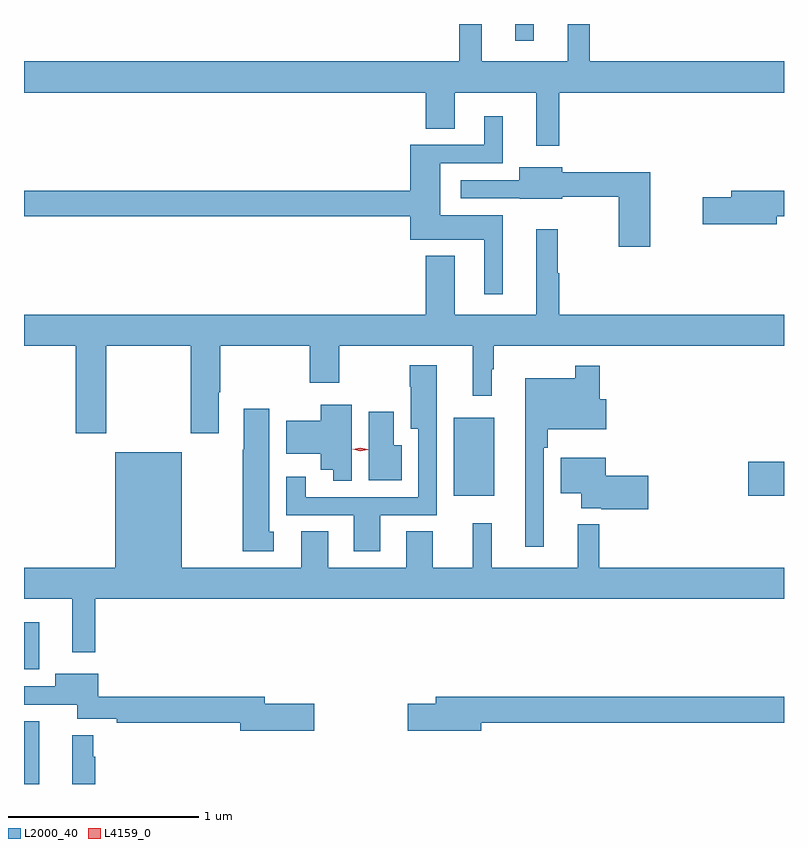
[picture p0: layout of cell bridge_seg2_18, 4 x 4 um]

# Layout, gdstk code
import gdstk
lib = gdstk.Library(unit=1e-6, precision=1e-09)
def R(c, l, rs):  # rectangles x0, y0, x1, y1
    for r in rs: c.add(gdstk.rectangle(r[:2], r[2:], *l))
def P(c, l, *ps):  # polygons
    for p in ps: c.add(gdstk.Polygon(p, *l))
L2000_40 = (2000, 40)
L4159_0 = (4159, 0)

bridge_seg2_18 = lib.new_cell('bridge_seg2_18')
R(bridge_seg2_18, L2000_40, [(757.389,637.337,757.468,637.666), (757.389,637.941,757.468,638.188), (761.202,638.854,761.389,639.032), (759.65,638.855,759.865,639.265), (759.975,641.25,760.072,641.337)])
P(bridge_seg2_18, L2000_40, [(760.207,640.976),(761.389,640.976),(761.389,641.14),(760.367,641.14),(760.367,641.337),(760.25,641.337),(760.25,641.14),(759.797,641.14),(759.797,641.337),(759.679,641.337),(759.679,641.14),(757.389,641.14),(757.389,640.976),(759.503,640.976),(759.503,640.786),(759.655,640.786),(759.655,640.976),(760.085,640.976),(760.085,640.695),(760.207,640.695)],
  [(759.91,640.33),(759.58,640.33),(759.58,640.605),(759.91,640.605),(759.91,640.852),(759.812,640.852),(759.812,640.701),(759.422,640.701),(759.422,640.46),(757.389,640.46),(757.389,640.324),(759.422,640.324),(759.422,640.202),(759.812,640.202),(759.812,639.915),(759.91,639.915)],
  [(760.684,640.558),(760.222,640.558),(760.222,640.582),(759.995,640.582),(759.995,640.515),(759.687,640.515),(759.687,640.419),(759.999,640.419),(759.999,640.418),(760.222,640.418),(760.222,640.429),(760.519,640.429),(760.519,640.164),(760.684,640.164)],
  [(761.35,640.324),(761.389,640.324),(761.389,640.46),(761.111,640.46),(761.111,640.424),(760.962,640.424),(760.962,640.282),(761.35,640.282)],
  [(757.821,639.644),(758.266,639.644),(758.266,639.183),(758.413,639.183),(758.413,639.4),(758.421,639.4),(758.421,639.644),(758.893,639.644),(758.893,639.45),(759.048,639.45),(759.048,639.644),(759.752,639.644),(759.752,639.381),(759.85,639.381),(759.85,639.521),(759.862,639.521),(759.862,639.644),(761.389,639.644),(761.389,639.808),(760.207,639.808),(760.207,640.025),(760.199,640.025),(760.199,640.258),(760.085,640.258),(760.085,639.808),(759.655,639.808),(759.655,640.117),(759.503,640.117),(759.503,639.808),(757.389,639.808),(757.389,639.644),(757.661,639.644),(757.661,639.183),(757.821,639.183)],
  [(759.265,638.751),(759.561,638.751),(759.561,639.31),(759.562,639.31),(759.562,639.541),(759.418,639.541),(759.418,639.428),(759.425,639.428),(759.425,639.206),(759.465,639.206),(759.465,638.847),(758.872,638.847),(758.872,638.953),(758.768,638.953),(758.768,638.751),(759.125,638.751),(759.125,638.562),(759.265,638.562)],
  [(760.125,639.107),(760.145,639.107),(760.145,639.203),(760.453,639.203),(760.453,639.361),(760.418,639.361),(760.418,639.538),(760.29,639.538),(760.29,639.472),(760.028,639.472),(760.028,638.586),(760.125,638.586)],
  [(759.114,639.334),(758.951,639.334),(758.951,639.25),(758.768,639.25),(758.768,639.074),(758.951,639.074),(758.951,638.99),(759.017,638.99),(759.017,638.932),(759.114,638.932)],
  [(758.704,638.664),(758.68,638.664),(758.68,639.313),(758.546,639.313),(758.546,639.095),(758.539,639.095),(758.539,638.562),(758.704,638.562)],
  [(759.376,639.121),(759.334,639.121),(759.334,639.295),(759.203,639.295),(759.203,638.936),(759.376,638.936)],
  [(757.765,638.312),(761.389,638.312),(761.389,638.476),(760.416,638.476),(760.416,638.704),(760.304,638.704),(760.304,638.476),(759.851,638.476),(759.851,638.71),(759.752,638.71),(759.752,638.476),(759.541,638.476),(759.541,638.666),(759.401,638.666),(759.401,638.476),(758.989,638.476),(758.989,638.666),(758.849,638.666),(758.849,638.476),(758.218,638.476),(758.218,639.082),(757.868,639.082),(757.868,638.476),(757.389,638.476),(757.389,638.312),(757.643,638.312),(757.643,638.031),(757.765,638.031)],
  [(760.675,638.96),(760.45,638.96),(760.45,639.055),(760.214,639.055),(760.214,638.867),(760.322,638.867),(760.322,638.789),(760.426,638.789),(760.426,638.784),(760.675,638.784)],
  [(758.917,637.76),(758.656,637.76),(758.656,637.796),(757.78,637.796),(757.78,637.918),(757.553,637.918),(757.553,637.851),(757.389,637.851),(757.389,637.755),(757.67,637.755),(757.67,637.68),(757.876,637.68),(757.876,637.66),(758.528,637.66),(758.528,637.618),(758.917,637.618)],
  [(759.796,637.66),(761.389,637.66),(761.389,637.796),(759.557,637.796),(759.557,637.76),(759.408,637.76),(759.408,637.618),(759.796,637.618)],
  [(757.765,637.481),(757.754,637.481),(757.754,637.594),(757.643,637.594),(757.643,637.337),(757.765,637.337)])
P(bridge_seg2_18, L4159_0, [(759.159,639.088),(759.12,639.099),(759.119,639.099),(759.12,639.099),(759.16,639.108),(759.199,639.098),(759.2,639.097),(759.199,639.097)])

lib.write_gds('bridge_seg2_18.gds')
